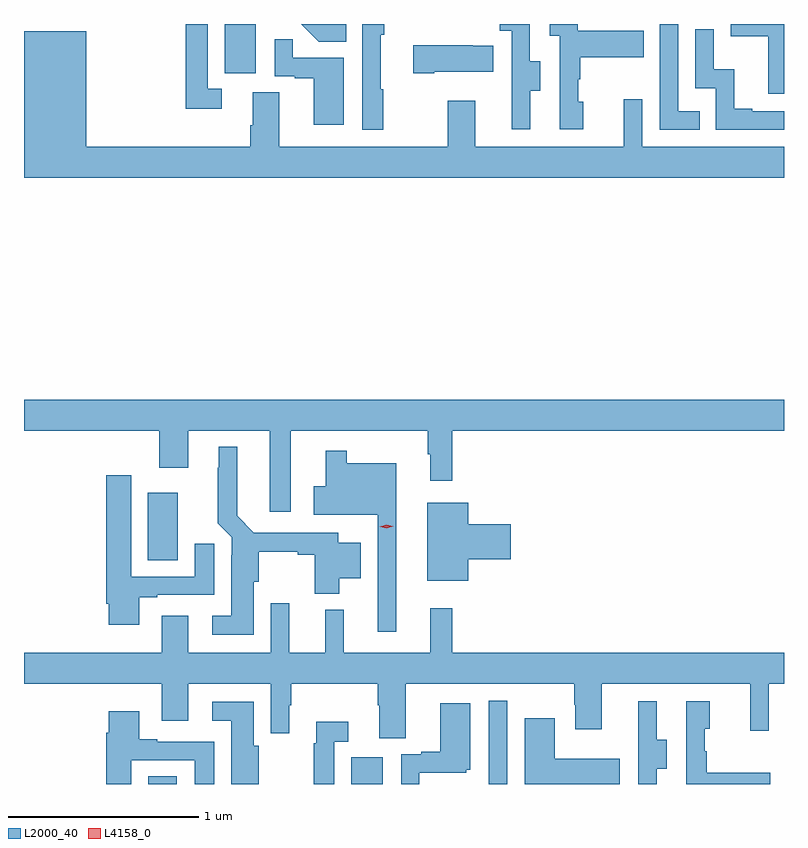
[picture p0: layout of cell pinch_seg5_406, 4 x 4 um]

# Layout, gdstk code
import gdstk
lib = gdstk.Library(unit=1e-6, precision=1e-09)
def R(c, l, rs):  # rectangles x0, y0, x1, y1
    for r in rs: c.add(gdstk.rectangle(r[:2], r[2:], *l))
def P(c, l, *ps):  # polygons
    for p in ps: c.add(gdstk.Polygon(p, *l))
L2000_40 = (2000, 40)
L4158_0 = (4158, 0)

pinch_seg5_406 = lib.new_cell('pinch_seg5_406')
R(pinch_seg5_406, L2000_40, [(985.208,853.569,985.357,853.61), (986.276,853.569,986.44,853.711), (987,853.569,987.096,854.008), (985.205,854.746,985.363,855.103), (985.61,857.31,985.774,857.569)])
P(pinch_seg5_406, L2000_40, [(986.443,857.225),(986.431,857.225),(986.431,857.513),(986.45,857.513),(986.45,857.569),(986.334,857.569),(986.334,857.013),(986.443,857.013)],
  [(987.496,857.16),(987.471,857.16),(987.471,857.279),(987.481,857.279),(987.481,857.393),(987.815,857.393),(987.815,857.533),(987.468,857.533),(987.468,857.569),(987.321,857.569),(987.321,857.507),(987.372,857.507),(987.372,857.016),(987.496,857.016)],
  [(988.553,857.569),(988.272,857.569),(988.272,857.505),(988.471,857.505),(988.471,857.202),(988.553,857.202)],
  [(987.217,857.218),(987.271,857.218),(987.271,857.373),(987.216,857.373),(987.216,857.569),(987.057,857.569),(987.057,857.533),(987.12,857.533),(987.12,857.229),(987.119,857.229),(987.119,857.016),(987.217,857.016)],
  [(986.249,857.569),(986.012,857.569),(986.105,857.476),(986.249,857.476)],
  [(985.594,857.229),(985.521,857.229),(985.521,857.569),(985.405,857.569),(985.405,857.124),(985.594,857.124)],
  [(988.109,857.109),(987.996,857.109),(987.996,857.569),(987.9,857.569),(987.9,857.013),(988.109,857.013)],
  [(988.553,857.109),(988.387,857.109),(988.387,857.122),(988.292,857.122),(988.292,857.33),(988.182,857.33),(988.182,857.542),(988.086,857.542),(988.086,857.232),(988.194,857.232),(988.194,857.013),(988.553,857.013)],
  [(988.553,856.924),(987.807,856.924),(987.807,857.173),(987.71,857.173),(987.71,856.924),(986.929,856.924),(986.929,857.164),(986.782,857.164),(986.782,856.924),(985.897,856.924),(985.897,857.21),(985.757,857.21),(985.757,857.036),(985.745,857.036),(985.745,856.924),(984.88,856.924),(984.88,857.53),(984.553,857.53),(984.553,856.76),(988.553,856.76)],
  [(986.236,857.391),(985.967,857.391),(985.967,857.489),(985.872,857.489),(985.872,857.295),(985.979,857.295),(985.979,857.283),(986.078,857.283),(986.078,857.04),(986.236,857.04)],
  [(986.713,857.318),(987.023,857.318),(987.023,857.455),(986.915,857.455),(986.915,857.458),(986.601,857.458),(986.601,857.311),(986.713,857.311)],
  [(985.957,855.428),(986.679,855.428),(986.679,855.305),(986.69,855.305),(986.69,855.165),(986.807,855.165),(986.807,855.428),(988.553,855.428),(988.553,855.592),(984.553,855.592),(984.553,855.428),(985.265,855.428),(985.265,855.234),(985.417,855.234),(985.417,855.428),(985.847,855.428),(985.847,855.003),(985.957,855.003)],
  [(985.762,854.634),(985.788,854.634),(985.788,854.791),(985.994,854.791),(985.994,854.776),(986.083,854.776),(986.083,854.57),(986.212,854.57),(986.212,854.651),(986.326,854.651),(986.326,854.839),(986.206,854.839),(986.206,854.892),(985.762,854.892),(985.675,854.98),(985.675,855.343),(985.577,855.343),(985.577,855.233),(985.574,855.233),(985.574,854.941),(985.647,854.868),(985.647,854.774),(985.643,854.774),(985.643,854.455),(985.545,854.455),(985.545,854.354),(985.762,854.354)],
  [(986.512,855.256),(986.251,855.256),(986.251,855.322),(986.141,855.322),(986.141,855.135),(986.078,855.135),(986.078,854.987),(986.415,854.987),(986.415,854.37),(986.512,854.37)],
  [(985.159,854.553),(985.255,854.553),(985.255,854.565),(985.555,854.565),(985.555,854.833),(985.451,854.833),(985.451,854.661),(985.117,854.661),(985.117,855.193),(984.986,855.193),(984.986,854.518),(984.998,854.518),(984.998,854.406),(985.159,854.406)],
  [(986.89,854.753),(987.115,854.753),(987.115,854.936),(986.89,854.936),(986.89,855.049),(986.675,855.049),(986.675,854.639),(986.89,854.639)],
  [(986.563,854.096),(987.448,854.096),(987.448,853.985),(987.455,853.985),(987.455,853.857),(987.595,853.857),(987.595,854.096),(988.376,854.096),(988.376,853.848),(988.473,853.848),(988.473,854.096),(988.553,854.096),(988.553,854.26),(986.807,854.26),(986.807,854.494),(986.69,854.494),(986.69,854.26),(986.237,854.26),(986.237,854.485),(986.138,854.485),(986.138,854.26),(985.949,854.26),(985.949,854.521),(985.851,854.521),(985.851,854.26),(985.417,854.26),(985.417,854.455),(985.277,854.455),(985.277,854.26),(984.553,854.26),(984.553,854.096),(985.277,854.096),(985.277,853.902),(985.417,853.902),(985.417,854.096),(985.851,854.096),(985.851,853.836),(985.948,853.836),(985.948,853.984),(985.96,853.984),(985.96,854.096),(986.416,854.096),(986.416,853.984),(986.423,853.984),(986.423,853.81),(986.563,853.81)],
  [(988.481,853.627),(988.147,853.627),(988.147,853.742),(988.137,853.742),(988.137,853.86),(988.162,853.86),(988.162,854.005),(988.038,854.005),(988.038,853.569),(988.481,853.569)],
  [(987.882,853.648),(987.937,853.648),(987.937,853.803),(987.883,853.803),(987.883,854.005),(987.785,854.005),(987.785,853.791),(987.786,853.791),(987.786,853.569),(987.882,853.569)],
  [(985.788,853.77),(985.762,853.77),(985.762,854.002),(985.545,854.002),(985.545,853.901),(985.643,853.901),(985.643,853.569),(985.788,853.569)],
  [(986.633,853.629),(986.88,853.629),(986.88,853.644),(986.902,853.644),(986.902,853.993),(986.744,853.993),(986.744,853.738),(986.645,853.738),(986.645,853.725),(986.538,853.725),(986.538,853.569),(986.633,853.569)],
  [(985.117,853.695),(985.451,853.695),(985.451,853.569),(985.555,853.569),(985.555,853.791),(985.255,853.791),(985.255,853.804),(985.159,853.804),(985.159,853.951),(984.998,853.951),(984.998,853.838),(984.986,853.838),(984.986,853.569),(985.117,853.569)],
  [(987.689,853.702),(987.346,853.702),(987.346,853.915),(987.188,853.915),(987.188,853.569),(987.689,853.569)],
  [(986.187,853.791),(986.26,853.791),(986.26,853.897),(986.09,853.897),(986.09,853.784),(986.079,853.784),(986.079,853.569),(986.187,853.569)])
P(pinch_seg5_406, L4158_0, [(986.461,854.914),(986.426,854.923),(986.425,854.923),(986.426,854.923),(986.46,854.934),(986.496,854.926),(986.496,854.926),(986.496,854.926)])

lib.write_gds('pinch_seg5_406.gds')
